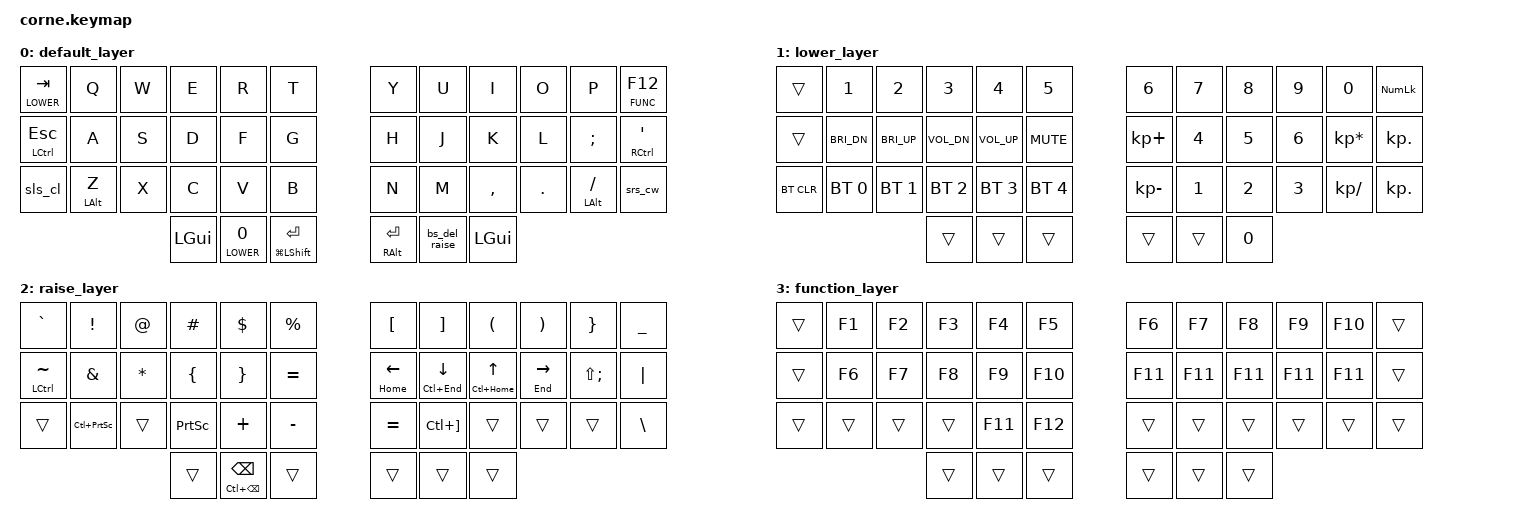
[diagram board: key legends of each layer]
/*
 * Copyright (c) 2020 The ZMK Contributors
 *
 * SPDX-License-Identifier: MIT
 */

#include <behaviors.dtsi>
#include <dt-bindings/zmk/keys.h>
#include <dt-bindings/zmk/bt.h>
#include "../zmk-nodefree-config/helper.h"

#define BASE 0
#define LOWER 1
#define RAISE 2
#define FUNC 3

#define NAV_LEFT  &mt HOME     LEFT    // tap: left  | long-tap: beginning of line
#define NAV_RIGHT &mt END      RIGHT   // tap: right | long-tap: end       of line
#define NAV_UP    &mt LC(HOME) UP      // tap: up    | long-tap: beginning of document
#define NAV_DOWN  &mt LC(END)  DOWN    // tap: down  | long-tap: end       of document
#define NAV_BSPC  &mt LC(BSPC) BSPC    // tap: bspc  | long-tap: delete word backward
#define NAV_DEL   &mt LC(DEL)  DEL     // tap: del   | long-tap: delete word forward

#define XXX &none
#define ___ &trans


/* Settings */
#define QUICK_TAP_MS 175
#define TAPPING_TERM_MS 200

&mt {
    tapping-term-ms = <TAPPING_TERM_MS>;
    flavor = "tap-preferred";
    quick-tap-ms = <210>;  // repeat tap if pressed twice within 210ms

    // the following might be useful for home row mods
    // if you press a mt key and press another key before the tapping-term-ms
    // it will send the tap option for mt key and the key you pressed
    // hold-trigger-key-positions = <0>;  // tap on interrupt
};


&sk {  // sticky-key config
    release-after-ms = <600>;  // release after 0.6s
    quick-release;             // no double capitalization when rolling keys
};

&sl {  // sticky-layer config
    ignore-modifiers;
};

&lt {  // layer-tap config
    flavor = "balanced";
    tapping-term-ms = <TAPPING_TERM_MS>;
    quick-tap-ms = <QUICK_TAP_MS>;
};

/* Custom behaviors */

// tap: backspace | lshft + tap: delete | rshft + tap: shift-delete | hold: raise layer
ZMK_BEHAVIOR(bs_del_raise, mod_morph,
    bindings = <&lt RAISE BSPC>, <&kp DEL>;
    mods = <(MOD_LSFT|MOD_RSFT)>;
    keep-mods = <MOD_RSFT>;
)
// ------------------------------------------------------------

// tap: sticky-rshift | lshft + tap: caps-word | hold: rshift
ZMK_BEHAVIOR(srs_cw, mod_morph,
    bindings = <&sk RSHFT>, <&caps_word>;
    mods = <(MOD_LSFT)>;
)
// ------------------------------------------------------------

// tap: sticky-lshift | rshft + tap: capslock | hold: lshift
ZMK_BEHAVIOR(sls_cl, mod_morph,
    bindings = <&sk LSHFT>, <&kp CAPS>;
    mods = <(MOD_RSFT)>;
)
// ------------------------------------------------------------


// tap: space | shift+space: dot -> space -> sticky shift | hold: activate layer
ZMK_BEHAVIOR(dot_spc, macro,
    wait-ms = <0>;
    tap-ms = <5>;
    bindings = <&kp DOT &kp SPACE &sk LSHFT>;
)
ZMK_BEHAVIOR(spc_morph, mod_morph,
    bindings = <&kp SPACE>, <&dot_spc>;
    mods = <(MOD_LSFT|MOD_RSFT)>;
)
ZMK_BEHAVIOR(lt_spc, hold_tap,
    flavor = "balanced";
    tapping-term-ms = <TAPPING_TERM_MS>;
    quick-tap-ms = <QUICK_TAP_MS>;
    bindings = <&mo>, <&spc_morph>;
)
// ------------------------------------------------------------

// ZMK_LAYER(layer_name,
//      // ╭─────────────┬─────────────┬─────────────┬─────────────┬─────────────┬─────────────╮     ╭─────────────┬─────────────┬─────────────┬─────────────┬─────────────┬─────────────╮
//           ___           ___           ___           ___           ___           ___                 ___           ___           ___           ___           ___           ___ 
//      // ├─────────────┼─────────────┼─────────────┼─────────────┼─────────────┼─────────────┤     ├─────────────┼─────────────┼─────────────┼─────────────┼─────────────┼─────────────┤
//           ___           ___           ___           ___           ___           ___                 ___           ___           ___           ___           ___           ___
//      // ├─────────────┼─────────────┼─────────────┼─────────────┼─────────────┼─────────────┤     ├─────────────┼─────────────┼─────────────┼─────────────┼─────────────┼─────────────┤
//           ___           ___           ___           ___           ___           ___                 ___           ___           ___           ___           ___           ___
//      // ╰─────────────┴─────────────┴─────────────┼─────────────┼─────────────┼─────────────┤     ├─────────────┼─────────────┼─────────────┴─────────────┴─────────────┴─────────────╯
//                                                     ___           ___           ___                 ___           ___           ___
//      //                                           ╰─────────────┴─────────────┴─────────────╯     ╰─────────────┴─────────────┴─────────────╯
// )

ZMK_LAYER(default_layer,
     // ╭─────────────┬─────────────┬─────────────┬─────────────┬─────────────┬─────────────╮     ╭─────────────┬─────────────┬─────────────┬─────────────┬─────────────┬─────────────╮
         &lt LOWER TAB  &kp Q          &kp W         &kp E         &kp R         &kp T               &kp Y         &kp U        &kp I         &kp O          &kp P         &lt FUNC F12
     // ├─────────────┼─────────────┼─────────────┼─────────────┼─────────────┼─────────────┤     ├─────────────┼─────────────┼─────────────┼─────────────┼─────────────┼─────────────┤
         &mt LCTRL ESC  &kp A          &kp S         &kp D         &kp F         &kp G               &kp H         &kp J        &kp K         &kp L          &kp SEMI      &mt RCTRL SQT
     // ├─────────────┼─────────────┼─────────────┼─────────────┼─────────────┼─────────────┤     ├─────────────┼─────────────┼─────────────┼─────────────┼─────────────┼─────────────┤
         &sls_cl        &mt LALT Z     &kp X         &kp C         &kp V         &kp B               &kp N         &kp M        &kp COMMA     &kp DOT        &mt LALT FSLH &srs_cw
     // ╰─────────────┴─────────────┴─────────────┼─────────────┼─────────────┼─────────────┤     ├─────────────┼─────────────┼─────────────┴─────────────┴─────────────┴─────────────╯
                                                    &kp LGUI    &lt_spc LOWER 0 &mt LG(LSHFT) RET   &mt RALT RET  &bs_del_raise &kp LGUI
     //                                           ╰─────────────┴─────────────┴─────────────╯     ╰─────────────┴─────────────┴─────────────╯
)


ZMK_LAYER(lower_layer,
     // ╭─────────────┬─────────────┬─────────────┬─────────────┬─────────────┬─────────────╮     ╭─────────────┬─────────────┬─────────────┬─────────────┬─────────────┬─────────────╮
           ___          &kp N1        &kp N2        &kp N3        &kp N4        &kp N5              &kp N6        &kp N7        &kp N8        &kp N9       &kp N0          &kp KP_NLCK
     // ├─────────────┼─────────────┼─────────────┼─────────────┼─────────────┼─────────────┤     ├─────────────┼─────────────┼─────────────┼─────────────┼─────────────┼─────────────┤
           ___          &kp C_BRI_DN  &kp C_BRI_UP  &kp C_VOL_DN  &kp C_VOL_UP  &kp C_MUTE          &kp KP_PLUS   &kp N4        &kp N5        &kp N6       &kp KP_MULTIPLY &kp KP_DOT
     // ├─────────────┼─────────────┼─────────────┼─────────────┼─────────────┼─────────────┤     ├─────────────┼─────────────┼─────────────┼─────────────┼─────────────┼─────────────┤
           &bt BT_CLR   &bt BT_SEL 0  &bt BT_SEL 1  &bt BT_SEL 2  &bt BT_SEL 3  &bt BT_SEL 4        &kp KP_MINUS  &kp N1        &kp N2        &kp N3       &kp KP_DIVIDE   &kp KP_DOT
     // ╰─────────────┴─────────────┴─────────────┼─────────────┼─────────────┼─────────────┤     ├─────────────┼─────────────┼─────────────┴─────────────┴─────────────┴─────────────╯
                                                    ___           ___           ___                 ___           ___           &kp N0
     //                                           ╰─────────────┴─────────────┴─────────────╯     ╰─────────────┴─────────────┴─────────────╯
)


ZMK_LAYER(raise_layer,
     // ╭─────────────┬─────────────┬─────────────┬─────────────┬─────────────┬─────────────╮     ╭─────────────┬─────────────┬─────────────┬─────────────┬─────────────┬─────────────╮
         &kp GRAVE        &kp EXCL    &kp AT        &kp HASH      &kp DLLR      &kp PRCNT            &kp LBKT     &kp RBKT      &kp LPAR      &kp RPAR      &kp RBRC      &kp UNDER
     // ├─────────────┼─────────────┼─────────────┼─────────────┼─────────────┼─────────────┤     ├─────────────┼─────────────┼─────────────┼─────────────┼─────────────┼─────────────┤
         &mt LCTRL TILDE  &kp AMPS    &kp ASTRK     &kp LBRC      &kp RBRC     &kp EQUAL              NAV_LEFT     NAV_DOWN      NAV_UP        NAV_RIGHT    &kp LS(SEMI)  &kp PIPE
     // ├─────────────┼─────────────┼─────────────┼─────────────┼─────────────┼─────────────┤     ├─────────────┼─────────────┼─────────────┼─────────────┼─────────────┼─────────────┤
         ___            &kp LC(PSCRN) ___           &kp PSCRN     &kp PLUS      &kp MINUS            &kp EQUAL    &kp LC(RBKT)  ___           ___           ___           &kp BSLH
     // ╰─────────────┴─────────────┴─────────────┼─────────────┼─────────────┼─────────────┤     ├─────────────┼─────────────┼─────────────┴─────────────┴─────────────┴─────────────╯
                                                    ___           NAV_BSPC      ___                 ___           ___           ___
     //                                           ╰─────────────┴─────────────┴─────────────╯     ╰─────────────┴─────────────┴─────────────╯
)


ZMK_LAYER(function_layer,
     // ╭─────────────┬─────────────┬─────────────┬─────────────┬─────────────┬─────────────╮     ╭─────────────┬─────────────┬─────────────┬─────────────┬─────────────┬─────────────╮
          ___           &kp F1        &kp F2        &kp F3        &kp F4         &kp F5             &kp F6         &kp F7         &kp F8         &kp F9         &kp F10     ___
     // ├─────────────┼─────────────┼─────────────┼─────────────┼─────────────┼─────────────┤     ├─────────────┼─────────────┼─────────────┼─────────────┼─────────────┼─────────────┤
          ___           &kp F6        &kp F7        &kp F8        &kp F9         &kp F10            &kp F11        &kp F11        &kp F11        &kp F11        &kp F11     ___
     // ├─────────────┼─────────────┼─────────────┼─────────────┼─────────────┼─────────────┤     ├─────────────┼─────────────┼─────────────┼─────────────┼─────────────┼─────────────┤
          ___           ___           ___           ___           &kp F11        &kp F12            ___            ___            ___         ___            ___            ___
     // ╰─────────────┴─────────────┴─────────────┼─────────────┼─────────────┼─────────────┤     ├─────────────┼─────────────┼─────────────┴─────────────┴─────────────┴─────────────╯
                                                    ___           ___           ___                 ___           ___           ___
     //                                           ╰─────────────┴─────────────┴─────────────╯     ╰─────────────┴─────────────┴─────────────╯
       )

                
/* vim: set filetype=c: */
